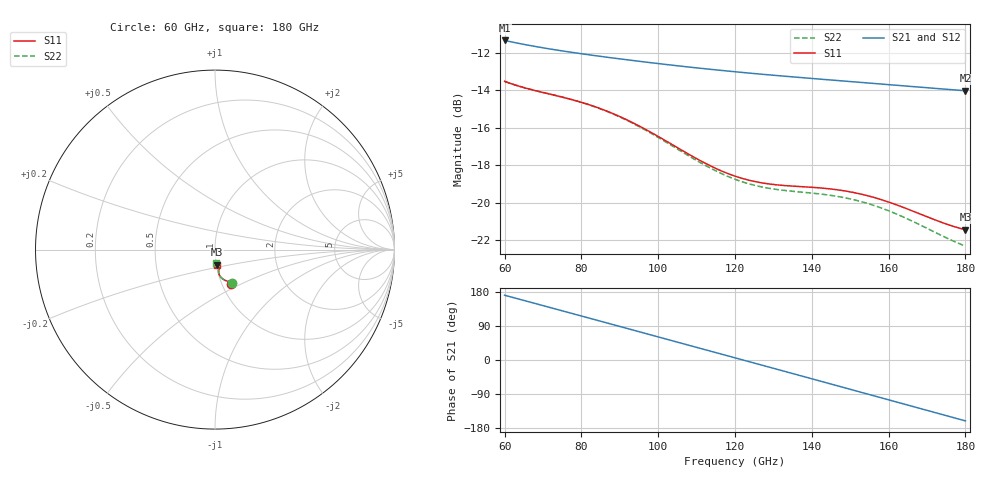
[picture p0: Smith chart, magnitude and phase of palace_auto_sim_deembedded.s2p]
! Created with skrf 1.11.0 (http://scikit-rf.org).
# GHz S DB R 50.0
!freq dBS11 angS11 dBS21 angS21 dBS12 angS12 dBS22 angS22
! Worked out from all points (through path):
!   101 points, 60 GHz to 180 GHz, reference 50 ohm
!   highest |S21| = -11.36 dB at 60 GHz (marker M1); lowest = -14.0 dB at 180 GHz (marker M2)
!   group delay of S21, straight-line fit = 7.68 ps
!   lowest |S11| = -21.5 dB at 180 GHz (marker M3), VSWR 1.18, Z = 50.6 - j8.52 ohm
!   |S11| at or under -10 dB: start of sweep to end of sweep
!   |S22| runs from -22.3 to -13.5 dB; largest |S21 - S12| = 4e-14
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60  -13.53 -64.4  -11.36 170.9  -11.36 170.9  -13.54 -63.8
64.8  -13.86 -65.0  -11.56 157.8  -11.56 157.8  -13.85 -64.4
70.8  -14.17 -66.4  -11.77 141.3  -11.77 141.3  -14.17 -65.9
75.6  -14.41 -68.2  -11.93 128.2  -11.93 128.2  -14.41 -67.7
80.4  -14.68 -70.4  -12.08 115.0  -12.08 115.0  -14.68 -70.0
85.2  -15.01 -72.8  -12.21 101.8  -12.21 101.8  -15.02 -72.5
90  -15.41 -75.2  -12.34 88.5  -12.34 88.5  -15.44 -75.0
94.8  -15.89 -77.4  -12.46 75.3  -12.46 75.3  -15.93 -77.4
100.8  -16.57 -79.6  -12.61 58.7  -12.61 58.7  -16.63 -79.7
110.4  -17.70 -80.8  -12.83 32.2  -12.83 32.2  -17.81 -81.2
115.2  -18.20 -80.3  -12.93 19.0  -12.93 19.0  -18.33 -80.9
120  -18.59 -79.4  -13.02 5.7  -13.02 5.7  -18.76 -80.1
124.8  -18.87 -78.4  -13.12 -7.5  -13.12 -7.5  -19.07 -79.2
129.6  -19.03 -77.6  -13.20 -20.8  -13.20 -20.8  -19.27 -78.4
134.4  -19.12 -77.3  -13.29 -34.0  -13.29 -34.0  -19.39 -78.2
140.4  -19.19 -77.7  -13.39 -50.7  -13.39 -50.7  -19.51 -78.7
146.4  -19.31 -78.9  -13.49 -67.3  -13.49 -67.3  -19.67 -80.1
151.2  -19.48 -80.2  -13.57 -80.6  -13.57 -80.6  -19.86 -81.6
156  -19.72 -81.5  -13.65 -94.0  -13.65 -94.0  -20.14 -83.1
160.8  -20.03 -82.5  -13.73 -107.3  -13.73 -107.3  -20.51 -84.5
171.6  -20.89 -83.0  -13.90 -137.3  -13.90 -137.3  -21.54 -85.8
180  -21.45 -81.0  -14.04 -160.6  -14.04 -160.6  -22.33 -84.2
